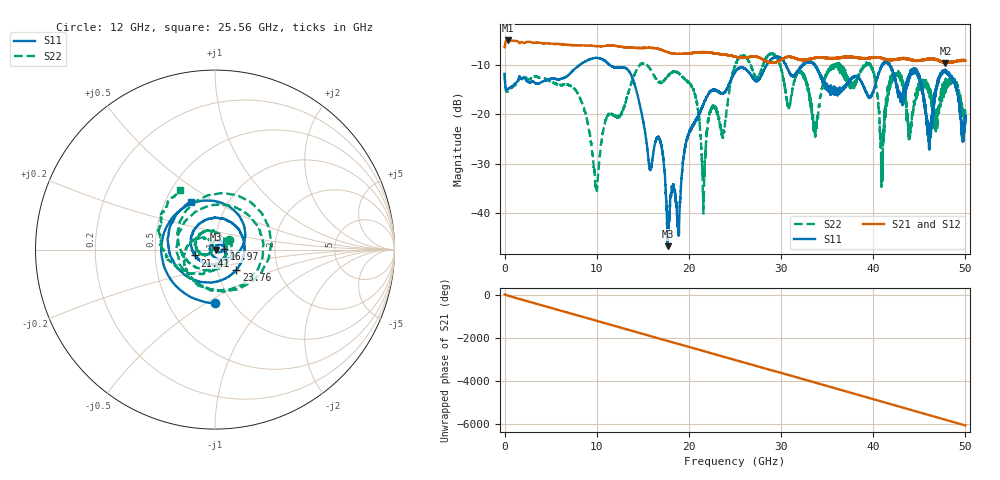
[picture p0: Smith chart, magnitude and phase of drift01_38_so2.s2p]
!Created with skrf (http://scikit-rf.org).
# Hz S RI R 50.0
!freq ReS11 ImS11 ReS21 ImS21 ReS12 ImS12 ReS22 ImS22
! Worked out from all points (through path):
!   10001 points, 300 kHz to 50 GHz, reference 50 ohm
!   highest |S21| = -5.05 dB at 325.3 MHz (marker M1); lowest = -9.7 dB at 47.84 GHz (marker M2)
!   group delay of S21, straight-line fit = 336 ps
!   lowest |S11| = -46.6 dB at 17.69 GHz (marker M3), VSWR 1.01, Z = 50.5 - j0.0904 ohm
!   |S11| at or under -10 dB: start of sweep to 8.152 GHz; 11.42 GHz to 28.43 GHz (17.01 GHz wide, 85.4 % of centre); 41.79 GHz to end of sweep (the widest 3 of 13)
!   |S22| runs from -40.0 to -7.6 dB; largest |S21 - S12| = 0.014
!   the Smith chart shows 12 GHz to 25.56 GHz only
!   S11 on the Smith chart (normalised r, x): 12 GHz: 0.84, -0.55; 16.97 GHz: 1.11, +0.01; 21.41 GHz: 0.79, -0.05; 23.76 GHz: 1.23, -0.29; 25.56 GHz: 0.68, +0.39
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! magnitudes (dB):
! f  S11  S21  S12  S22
! 300 kHz  -11.8  -6.4  -6.5  -11.7
! 325.3 MHz  -15.0  -5.1  -5.1  -15.4
! 8.335 GHz  -9.8  -6.0  -6.0  -17.5
! 9.935 GHz  -8.6  -6.2  -6.2  -34.5
! 12 GHz  -10.5  -6.1  -6.1  -20.4
! 15.78 GHz  -31.0  -6.5  -6.5  -10.8
! 16.67 GHz  -24.6  -6.8  -6.8  -13.4
! 16.97 GHz  -26.0  -6.9  -6.9  -13.4
! 17.69 GHz  -46.6  -7.4  -7.4  -12.3
! 20.47 GHz  -22.2  -7.6  -7.5  -15.0
! 21.41 GHz  -18.6  -7.4  -7.4  -28.9
! 22.47 GHz  -15.2  -7.5  -7.6  -18.9
! 23.76 GHz  -15.7  -7.9  -7.9  -23.3
! 25 GHz  -11.4  -8.3  -8.4  -10.3
! 25.56 GHz  -10.5  -8.5  -8.6  -8.3
! 33.34 GHz  -9.4  -8.8  -8.7  -19.2
! 39.51 GHz  -16.5  -8.6  -8.6  -10.0
! 40.95 GHz  -10.1  -8.7  -8.6  -29.3
! 41.67 GHz  -9.7  -8.9  -9.0  -15.4
! 46.09 GHz  -26.0  -8.8  -8.8  -15.7
! 47.84 GHz  -11.2  -9.7  -9.6  -14.0
! 50 GHz  -21.0  -9.1  -9.1  -20.2
